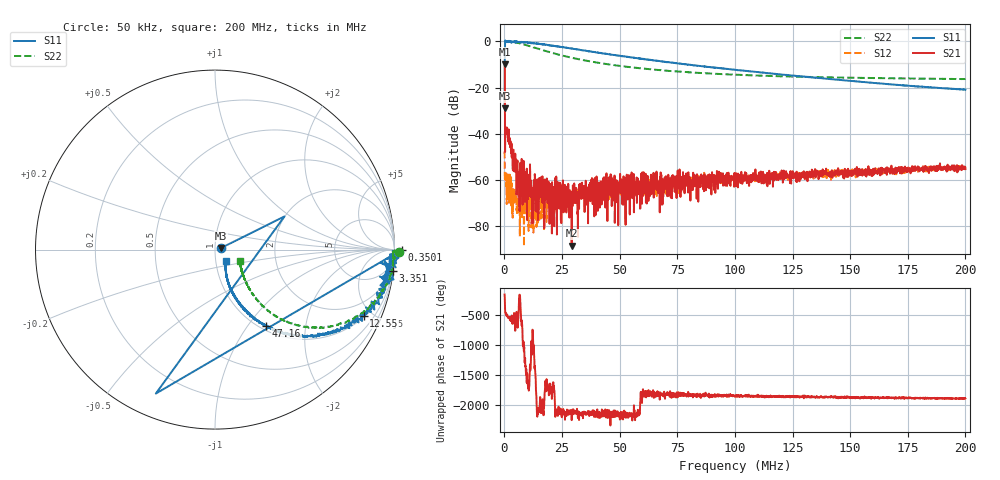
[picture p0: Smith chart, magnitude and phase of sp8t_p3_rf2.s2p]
! 26-Feb-26 11:41:02 AM
! E:\VNA_MEASUREMENTS\SP8T\SP8T_P3_RF2.S2P
! CHANNEL.1
! TR.MEASUREMENT
! CORRECTED.DATA
# GHZ S RI R 50.0
! FREQ.GHZ  S11RE  S11IM  S21RE  S21IM  S12RE  S12IM  S22RE  S22IM
!; PortSelection: Port_12
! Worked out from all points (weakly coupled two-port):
!   2000 points, 50 kHz to 200 MHz, reference 50 ohm
!   highest |S21| = -10.01 dB at 50 kHz (marker M1); lowest = -88.4 dB at 29.16 MHz (marker M2)
!   lowest |S11| = -29.0 dB at 50 kHz (marker M3), VSWR 1.07, Z = 53.5 + j1.01 ohm
!   |S11| at or under -10 dB: start of sweep to 137.8 kHz; 78.75642 MHz to 78.77637 MHz (19.96 kHz wide, 0.0253 % of centre); 79.09 MHz to end of sweep
!   |S22| runs from -16.4 to 0.2 dB; largest |S21 - S12| = 0.32
!   S11 on the Smith chart (normalised r, x): 50 kHz: 1.07, +0.02; 350.1 kHz: -49, -0; 3.351 MHz: 0, -17; 12.55 MHz: 1.08, -4.47; 47.16 MHz: 1.07, -1.23; 200 MHz: 1.12, -0.15
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5e-05  0.0343 0.00938  -0.3025 -0.0911  -0.00132 0.00399  1.023 -0.0146
0.000350075  1.042 -0.000212  -0.00326 -0.0113  -0.000584 -0.00102  0.9916 -0.0373
0.001150275  1.012 -0.0459  -0.0114 -0.00752  0.000848 -0.000175  0.99 -0.0646
0.003350825  0.9901 -0.1175  -0.00395 0.00201  0.000171 -8.71e-05  0.9475 -0.2038
0.006251551  0.9442 -0.2031  0.000637 0.000543  0.000449 6.81e-05  0.8512 -0.3322
0.008352076  0.9242 -0.2504  0.00107 -0.000415  -6.27e-05 0.000557  0.763 -0.388
0.01255313  0.8288 -0.368  0.000355 -0.000548  -3.77e-05 6.32e-05  0.5961 -0.4333
0.01595398  0.7822 -0.4042  0.000256 0.000486  8.65e-05 0.000287  0.4965 -0.4285
0.02055513  0.6628 -0.4617  -1.69e-05 -6.81e-05  0.000216 0.000251  0.397 -0.4021
0.02265565  0.6319 -0.4652  0.000781 0.000486  5.58e-05 0.000189  0.3639 -0.3862
0.02915728  0.5013 -0.4811  -5.6e-06 -3.77e-05  0.000428 0.000189  0.2878 -0.3337
0.03345835  0.435 -0.4741  0.000387 6.39e-05  0.000456 0.000209  0.2559 -0.3044
0.03965991  0.3542 -0.4561  0.000121 -0.000129  0.000294 0.00013  0.2238 -0.2681
0.04626156  0.2882 -0.4282  0.00124 -0.000249  0.000591 1.47e-05  0.2025 -0.237
0.04716178  0.2837 -0.4249  0.000661 -0.000123  0.000691 -0.000354  0.2 -0.2323
0.05476368  0.228 -0.3882  0.000952 -0.000642  0.000738 -0.000498  0.183 -0.2049
0.05716428  0.2127 -0.3793  0.0008 -0.000177  0.000599 -0.000277  0.1794 -0.1966
0.06676668  0.1652 -0.338  0.000827 4.4e-06  0.000801 -7.64e-05  0.1681 -0.171
0.100075  0.09 -0.2254  0.00049 -0.000982  0.000534 -0.000737  0.1491 -0.1175
0.1333833  0.0657 -0.152  0.000749 -0.00151  0.000277 -0.00114  0.1433 -0.0908
0.1666917  0.059 -0.1018  0.000172 -0.00151  7.88e-05 -0.0017  0.1404 -0.0748
0.2  0.0621 -0.0648  -0.000209 -0.00171  -0.000185 -0.00186  0.1387 -0.0627
